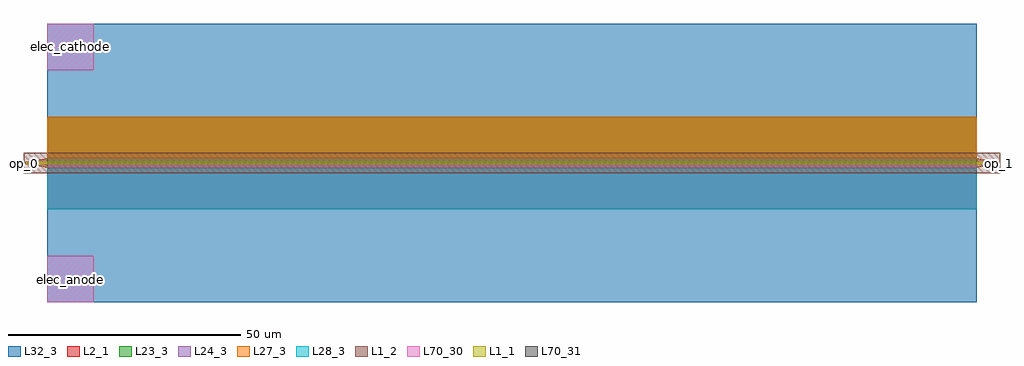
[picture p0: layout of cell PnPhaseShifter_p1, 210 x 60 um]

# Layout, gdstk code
import gdstk
lib = gdstk.Library(unit=1e-6, precision=1e-09)
def R(c, l, rs):  # rectangles x0, y0, x1, y1
    for r in rs: c.add(gdstk.rectangle(r[:2], r[2:], *l))
def P(c, l, *ps):  # polygons
    for p in ps: c.add(gdstk.Polygon(p, *l))
L1_1 = (1, 1)
L1_2 = (1, 2)
L2_1 = (2, 1)
L23_3 = (23, 3)
L24_3 = (24, 3)
L27_3 = (27, 3)
L28_3 = (28, 3)
L32_3 = (32, 3)
L70_30 = (70, 30)
L70_31 = (70, 31)

wg_wg = lib.new_cell('wg_wg')
R(wg_wg, L1_1, [(-5,-0.275,205,0.275)])
P(wg_wg, L1_2, [(-5,2.225),(205,2.225),(205,0.275),(205,-0.275),(205,-2.225),(-5,-2.225),(-5,-0.275),(-5,0.275)])
R(wg_wg, L70_31, [(-5,-0.275,-4.7,0.275), (204.7,-0.275,205,0.275)])
wg_wg.add(gdstk.Label('op_0', (-4.85,0), layer=70, texttype=41))
wg_wg.add(gdstk.Label('op_1', (204.85,0), layer=70, texttype=41))

pnphaseshifter_p1 = lib.new_cell('PnPhaseShifter_p1')
R(pnphaseshifter_p1, L2_1, [(0,-10,200,10)])
P(pnphaseshifter_p1, L2_1, [(-5,0.1),(0,1),(0,-1),(-5,-0.1)],
  [(200,1),(205,0.1),(205,-0.1),(200,-1)])
R(pnphaseshifter_p1, L23_3, [(0,0,200,10)])
R(pnphaseshifter_p1, L24_3, [(0,-10,200,0)])
R(pnphaseshifter_p1, L27_3, [(0,1,200,10)])
R(pnphaseshifter_p1, L28_3, [(0,-10,200,-1)])
R(pnphaseshifter_p1, L32_3, [(0,-30,200,-2), (0,-30,10,-20), (2,-8,200,-4), (0,2,200,30), (2,4,200,8), (0,20,10,30)])
R(pnphaseshifter_p1, L70_30, [(0,-30,10,-20), (0,20,10,30)])
R(pnphaseshifter_p1, L70_31, [(-5,-0.275,-4.7,0.275), (204.7,-0.275,205,0.275)])
pnphaseshifter_p1.add(gdstk.Reference(wg_wg, (0,0)))
pnphaseshifter_p1.add(gdstk.Label('op_0', (-4.85,0), layer=70, texttype=41))
pnphaseshifter_p1.add(gdstk.Label('op_1', (204.85,0), layer=70, texttype=41))
pnphaseshifter_p1.add(gdstk.Label('elec_cathode', (5,25), layer=70, texttype=41))
pnphaseshifter_p1.add(gdstk.Label('elec_anode', (5,-25), layer=70, texttype=41))

lib.write_gds('PnPhaseShifter_p1.gds')
